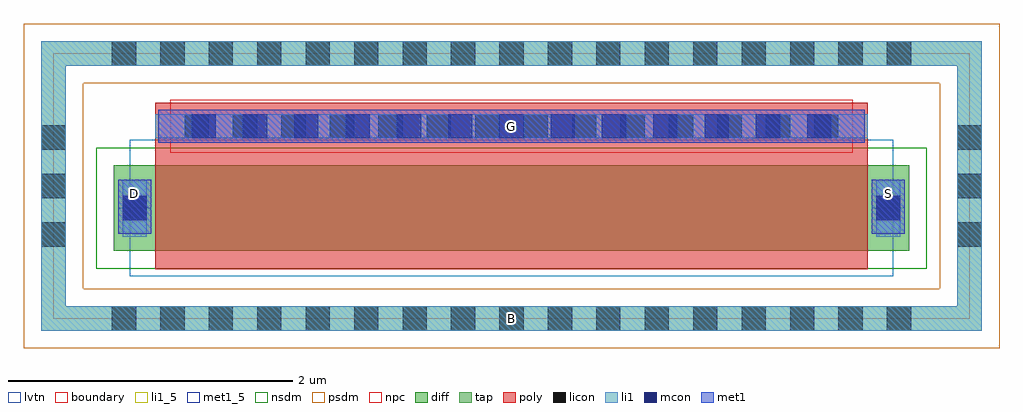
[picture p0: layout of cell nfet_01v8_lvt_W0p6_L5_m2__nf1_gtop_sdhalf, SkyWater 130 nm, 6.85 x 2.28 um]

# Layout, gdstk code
import gdstk
lib = gdstk.Library(unit=1e-6, precision=1e-09)
def R(c, l, rs):  # rectangles x0, y0, x1, y1
    for r in rs: c.add(gdstk.rectangle(r[:2], r[2:], *l))
def A(c, l, x, y, w, h, nx, ny, dx, dy):  # array of equal rectangles
    R(c, l, [(x+i*dx, y+j*dy, x+i*dx+w, y+j*dy+h) for i in range(nx) for j in range(ny)])
diff = (65, 20)
tap = (65, 44)
poly = (66, 20)
licon = (66, 44)
li1_5 = (67, 5)
li1 = (67, 20)
mcon = (67, 44)
met1_5 = (68, 5)
met1 = (68, 20)
nsdm = (93, 44)
psdm = (94, 20)
npc = (95, 20)
lvtn = (125, 44)
boundary = (235, 4)

sky130_fd_pr__nfet_01v8_ = lib.new_cell('sky130_fd_pr__nfet_01v8_lvt_PRM9RV')
R(sky130_fd_pr__nfet_01v8_, diff, [(-2.79,-0.455,2.79,0.145)])
R(sky130_fd_pr__nfet_01v8_, tap, [(-3.3,-1.015,3.3,-0.845), (-3.3,-0.845,-3.13,0.845), (3.13,-0.845,3.3,0.845), (-3.3,0.845,3.3,1.015)])
R(sky130_fd_pr__nfet_01v8_, poly, [(-2.5,-0.585,2.5,0.585)])
A(sky130_fd_pr__nfet_01v8_, licon, -2.805, -1.015, 0.17, 0.17, 17, 2, 0.34, 1.86)
A(sky130_fd_pr__nfet_01v8_, licon, -3.3, -0.425, 0.17, 0.17, 1, 3, 0, 0.34)
A(sky130_fd_pr__nfet_01v8_, licon, 3.13, -0.425, 0.17, 0.17, 1, 3, 0, 0.34)
A(sky130_fd_pr__nfet_01v8_, licon, -2.295, 0.335, 0.17, 0.17, 14, 1, 0.34, 0)
R(sky130_fd_pr__nfet_01v8_, licon, [(-2.73,-0.24,-2.56,-0.07), (2.56,-0.24,2.73,-0.07)])
R(sky130_fd_pr__nfet_01v8_, li1, [(-3.3,-1.015,3.3,-0.845), (-3.3,-0.845,-3.13,0.845), (3.13,-0.845,3.3,0.845), (-2.73,-0.355,-2.56,0.045), (2.56,-0.355,2.73,0.045), (-2.5,0.335,2.5,0.505), (-3.3,0.845,3.3,1.015)])
A(sky130_fd_pr__nfet_01v8_, mcon, -2.245, 0.335, 0.17, 0.17, 13, 1, 0.36, 0)
R(sky130_fd_pr__nfet_01v8_, mcon, [(-2.73,-0.24,-2.56,-0.07), (2.56,-0.24,2.73,-0.07)])
R(sky130_fd_pr__nfet_01v8_, met1, [(-2.76,-0.335,-2.53,0.025), (2.53,-0.335,2.76,0.025), (-2.48,0.305,2.48,0.535)])
R(sky130_fd_pr__nfet_01v8_, nsdm, [(-2.915,-0.58,2.915,0.27)])
R(sky130_fd_pr__nfet_01v8_, psdm, [(-3.425,-1.14,3.425,-0.72), (-3.425,-0.72,-3.005,0.72), (3.005,-0.72,3.425,0.72), (-3.425,0.72,3.425,1.14)])
R(sky130_fd_pr__nfet_01v8_, npc, [(-2.395,0.235,2.395,0.605)])
R(sky130_fd_pr__nfet_01v8_, lvtn, [(-2.68,-0.635,2.68,0.325)])
R(sky130_fd_pr__nfet_01v8_, boundary, [(-3.215,-0.93,3.215,0.93)])
sky130_fd_pr__nfet_01v8_.add(gdstk.Label('B', (0,-0.93), layer=67, texttype=5))
sky130_fd_pr__nfet_01v8_.add(gdstk.Label('D', (-2.645,-0.155), layer=67, texttype=5))
sky130_fd_pr__nfet_01v8_.add(gdstk.Label('S', (2.645,-0.155), layer=67, texttype=5))
sky130_fd_pr__nfet_01v8_.add(gdstk.Label('G', (0,0.42), layer=67, texttype=5))

nfet_01v8_lvt_w0p6_l5_m2 = lib.new_cell('nfet_01v8_lvt_W0p6_L5_m2__nf1_gtop_sdhalf')
R(nfet_01v8_lvt_w0p6_l5_m2, li1_5, [(3.13,-0.085,3.3,0.085)])
R(nfet_01v8_lvt_w0p6_l5_m2, li1, [(3.13,-0.085,3.3,0.085)])
R(nfet_01v8_lvt_w0p6_l5_m2, met1_5, [(0.455,0.775,0.685,0.975), (5.745,0.775,5.975,0.975), (0.735,1.235,5.695,1.465)])
R(nfet_01v8_lvt_w0p6_l5_m2, met1, [(0.455,0.775,0.685,0.975), (5.745,0.775,5.975,0.975), (0.735,1.235,5.695,1.465)])
nfet_01v8_lvt_w0p6_l5_m2.add(gdstk.Reference(sky130_fd_pr__nfet_01v8_, (3.215,0.93)))
nfet_01v8_lvt_w0p6_l5_m2.add(gdstk.Label('D', (0.57,0.875), layer=68, texttype=5))
nfet_01v8_lvt_w0p6_l5_m2.add(gdstk.Label('S', (5.86,0.875), layer=68, texttype=5))
nfet_01v8_lvt_w0p6_l5_m2.add(gdstk.Label('G', (3.215,1.35), layer=68, texttype=5))
nfet_01v8_lvt_w0p6_l5_m2.add(gdstk.Label('B', (3.215,0), layer=67, texttype=5))

lib.write_gds('nfet_01v8_lvt_W0p6_L5_m2__nf1_gtop_sdhalf.gds')
